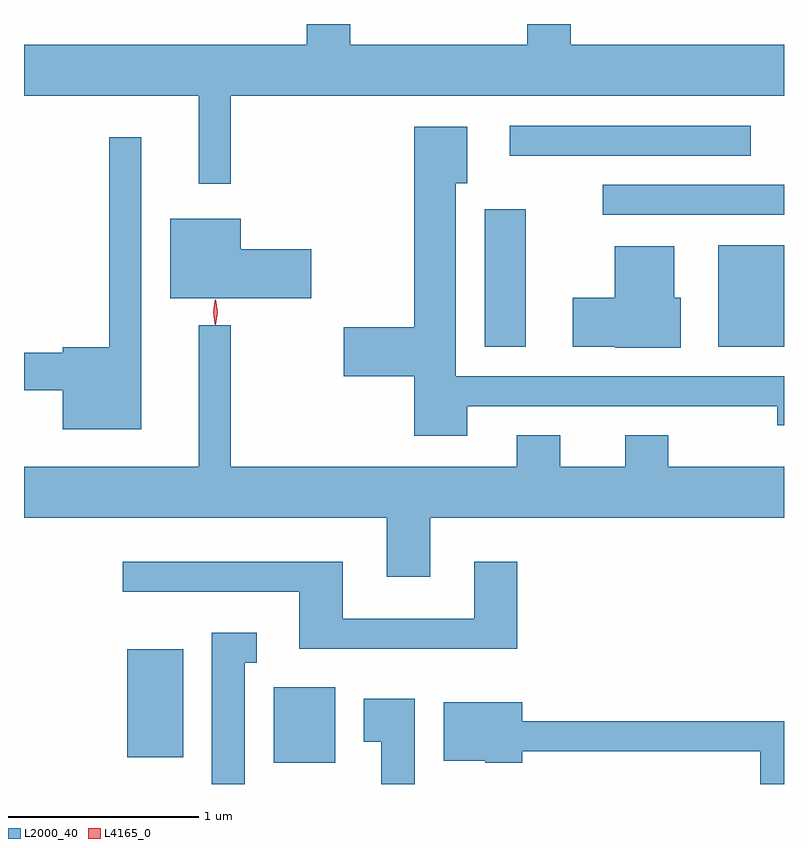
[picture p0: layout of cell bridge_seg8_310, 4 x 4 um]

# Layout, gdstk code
import gdstk
lib = gdstk.Library(unit=1e-6, precision=1e-09)
def R(c, l, rs):  # rectangles x0, y0, x1, y1
    for r in rs: c.add(gdstk.rectangle(r[:2], r[2:], *l))
def P(c, l, *ps):  # polygons
    for p in ps: c.add(gdstk.Polygon(p, *l))
L2000_40 = (2000, 40)
L4165_0 = (4165, 0)

bridge_seg8_310 = lib.new_cell('bridge_seg8_310')
R(bridge_seg8_310, L2000_40, [(987.486,1886.186,987.809,1886.584), (986.716,1886.216,987.009,1886.784), (988.596,1888.376,988.814,1889.099), (989.826,1888.376,990.172,1888.909), (989.218,1889.071,990.172,1889.229), (988.728,1889.381,989.998,1889.539)])
P(bridge_seg8_310, L2000_40, [(987.259,1889.696),(990.172,1889.696),(990.172,1889.964),(989.049,1889.964),(989.049,1890.074),(988.821,1890.074),(988.821,1889.964),(987.889,1889.964),(987.889,1890.074),(987.661,1890.074),(987.661,1889.964),(986.172,1889.964),(986.172,1889.696),(987.091,1889.696),(987.091,1889.233),(987.259,1889.233)],
  [(988.504,1888.061),(990.136,1888.061),(990.136,1887.963),(990.172,1887.963),(990.172,1888.219),(988.444,1888.219),(988.444,1889.236),(988.504,1889.236),(988.504,1889.534),(988.226,1889.534),(988.226,1888.479),(987.856,1888.479),(987.856,1888.221),(988.226,1888.221),(988.226,1887.906),(988.504,1887.906)],
  [(986.789,1889.478),(986.621,1889.478),(986.621,1888.374),(986.376,1888.374),(986.376,1888.344),(986.172,1888.344),(986.172,1888.146),(986.376,1888.146),(986.376,1887.941),(986.789,1887.941)],
  [(987.684,1888.889),(987.314,1888.889),(987.314,1889.049),(986.941,1889.049),(986.941,1888.631),(987.684,1888.631)],
  [(989.629,1888.634),(989.594,1888.634),(989.594,1888.904),(989.281,1888.904),(989.281,1888.634),(989.061,1888.634),(989.061,1888.376),(989.285,1888.376),(989.285,1888.371),(989.629,1888.371)],
  [(988.309,1887.476),(990.172,1887.476),(990.172,1887.744),(989.564,1887.744),(989.564,1887.909),(989.336,1887.909),(989.336,1887.744),(988.994,1887.744),(988.994,1887.909),(988.766,1887.909),(988.766,1887.744),(987.259,1887.744),(987.259,1888.488),(987.091,1888.488),(987.091,1887.744),(986.172,1887.744),(986.172,1887.476),(988.081,1887.476),(988.081,1887.166),(988.309,1887.166)],
  [(988.769,1887.244),(988.541,1887.244),(988.541,1886.944),(987.849,1886.944),(987.849,1887.244),(986.693,1887.244),(986.693,1887.086),(987.621,1887.086),(987.621,1886.786),(988.769,1886.786)],
  [(987.334,1886.711),(987.398,1886.711),(987.398,1886.869),(987.161,1886.869),(987.161,1886.074),(987.334,1886.074)],
  [(988.229,1886.524),(987.961,1886.524),(987.961,1886.296),(988.051,1886.296),(988.051,1886.074),(988.229,1886.074)],
  [(990.172,1886.404),(988.794,1886.404),(988.794,1886.504),(988.381,1886.504),(988.381,1886.196),(988.6,1886.196),(988.6,1886.186),(988.794,1886.186),(988.794,1886.246),(990.046,1886.246),(990.046,1886.074),(990.172,1886.074)])
P(bridge_seg8_310, L4165_0, [(987.18,1888.49),(987.18,1888.49),(987.171,1888.558),(987.181,1888.626),(987.182,1888.626),(987.182,1888.626),(987.191,1888.558),(987.181,1888.49)],
  [(987.177,1888.493),(987.168,1888.556),(987.177,1888.619),(987.178,1888.62),(987.178,1888.619),(987.188,1888.556),(987.178,1888.493),(987.178,1888.493)])

lib.write_gds('bridge_seg8_310.gds')
